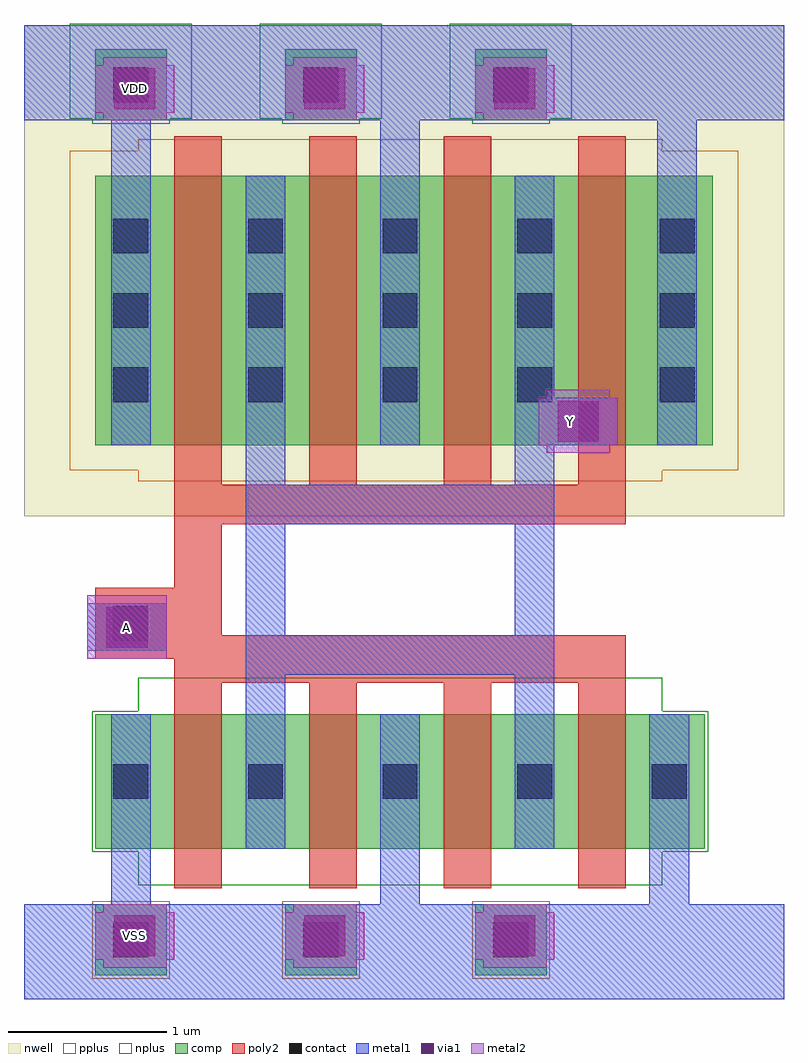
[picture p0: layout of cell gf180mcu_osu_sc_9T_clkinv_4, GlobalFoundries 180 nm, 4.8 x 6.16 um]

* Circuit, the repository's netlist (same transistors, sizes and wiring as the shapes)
* Copyright 2022 Google LLC
*
* Licensed under the Apache License, Version 2.0 (the "License");
* you may not use this file except in compliance with the License.
* You may obtain a copy of the License at
*
*      http://www.apache.org/licenses/LICENSE-2.0
*
* Unless required by applicable law or agreed to in writing, software
* distributed under the License is distributed on an "AS IS" BASIS,
* WITHOUT WARRANTIES OR CONDITIONS OF ANY KIND, either express or implied.
* See the License for the specific language governing permissions and
* limitations under the License.

.option scale=0.05u

.subckt gf180mcu_osu_sc_9T_clkinv_4 A Y
X0 VDD A Y VDD pmos_3p3 w=34 l=6
X1 Y A VSS VSS nmos_3p3 w=17 l=6
X2 Y A VSS VSS nmos_3p3 w=17 l=6
X3 Y A VDD VDD pmos_3p3 w=34 l=6
X4 Y A VDD VDD pmos_3p3 w=34 l=6
X5 VSS A Y VSS nmos_3p3 w=17 l=6
X6 VSS A Y VSS nmos_3p3 w=17 l=6
X7 VDD A Y VDD pmos_3p3 w=34 l=6
.ends

** hspice subcircuit dictionary

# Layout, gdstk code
import gdstk
lib = gdstk.Library(unit=1e-6, precision=1e-09)
def R(c, l, rs):  # rectangles x0, y0, x1, y1
    for r in rs: c.add(gdstk.rectangle(r[:2], r[2:], *l))
def A(c, l, x, y, w, h, nx, ny, dx, dy):  # array of equal rectangles
    R(c, l, [(x+i*dx, y+j*dy, x+i*dx+w, y+j*dy+h) for i in range(nx) for j in range(ny)])
nwell = (21, 0)
comp = (22, 0)
poly2 = (30, 0)
pplus = (31, 0)
nplus = (32, 0)
contact = (33, 0)
metal1 = (34, 0)
via1 = (35, 0)
metal2 = (36, 0)

gf180mcu_osu_sc_9t_clkin = lib.new_cell('gf180mcu_osu_sc_9T_clkinv_4')
R(gf180mcu_osu_sc_9t_clkin, nwell, [(0,3.05,4.8,6.15)])
A(gf180mcu_osu_sc_9t_clkin, comp, 0.45, 0.15, 0.45, 0.45, 3, 2, 1.2, 5.4)
R(gf180mcu_osu_sc_9t_clkin, comp, [(0.45,0.95,4.3,1.8), (0.45,3.5,4.35,5.2)])
A(gf180mcu_osu_sc_9t_clkin, poly2, 0.95, 0.7, 0.3, 1.3, 4, 1, 0.85, 0)
A(gf180mcu_osu_sc_9t_clkin, poly2, 0.95, 3.25, 0.3, 2.2, 4, 1, 0.85, 0)
R(gf180mcu_osu_sc_9t_clkin, poly2, [(0.95,2,3.8,2.15), (0.45,2.15,3.8,2.3), (0.45,2.3,1.25,2.6), (0.95,2.6,1.25,3), (0.95,3,3.8,3.25)])
A(gf180mcu_osu_sc_9t_clkin, pplus, 0.43, 0.13, 0.49, 0.49, 3, 1, 1.2, 0)
R(gf180mcu_osu_sc_9t_clkin, pplus, [(0.72,3.27,4.03,3.34), (0.29,3.34,4.51,5.36), (0.72,5.36,4.03,5.43)])
A(gf180mcu_osu_sc_9t_clkin, nplus, 0.43, 5.53, 0.49, 0.03, 3, 1, 1.2, 0)
A(gf180mcu_osu_sc_9t_clkin, nplus, 0.29, 5.56, 0.77, 0.6, 3, 1, 1.2, 0)
R(gf180mcu_osu_sc_9t_clkin, nplus, [(0.72,0.72,4.03,0.93), (0.43,0.93,4.32,1.82), (0.72,1.82,4.03,2.03)])
A(gf180mcu_osu_sc_9t_clkin, contact, 0.565, 0.265, 0.22, 0.22, 3, 2, 1.2, 5.4)
A(gf180mcu_osu_sc_9t_clkin, contact, 0.565, 1.265, 0.22, 0.22, 5, 1, 0.85, 0)
A(gf180mcu_osu_sc_9t_clkin, contact, 0.565, 3.77, 0.22, 0.22, 4, 3, 0.85, 0.47)
A(gf180mcu_osu_sc_9t_clkin, contact, 4.015, 3.77, 0.22, 0.22, 1, 3, 0, 0.47)
R(gf180mcu_osu_sc_9t_clkin, contact, [(0.565,2.265,0.785,2.485)])
A(gf180mcu_osu_sc_9t_clkin, metal1, 0.55, 0.6, 0.25, 1.2, 3, 1, 1.7, 0)
R(gf180mcu_osu_sc_9t_clkin, metal1, [(0,0,4.8,0.6), (1.4,0.95,1.65,2.05), (3.1,0.95,3.35,2.05), (1.4,2.05,3.35,2.3), (0.4,2.2,0.9,2.5), (1.4,2.3,1.65,3), (3.1,2.3,3.35,3), (1.4,3,3.35,3.25), (1.4,3.25,1.65,5.2), (3.1,3.25,3.35,3.5), (0.55,3.5,0.8,5.55), (2.25,3.5,2.5,5.55), (3.1,3.5,3.75,3.8), (4,3.5,4.25,5.55), (3.1,3.8,3.35,5.2), (0,5.55,4.8,6.15)])
A(gf180mcu_osu_sc_9t_clkin, via1, 0.57, 0.27, 0.26, 0.26, 3, 2, 1.2, 5.35)
R(gf180mcu_osu_sc_9t_clkin, via1, [(0.52,2.22,0.78,2.48), (3.37,3.52,3.63,3.78)])
A(gf180mcu_osu_sc_9t_clkin, metal2, 0.5, 0.2, 0.4, 0.05, 3, 2, 1.2, 0.35)
A(gf180mcu_osu_sc_9t_clkin, metal2, 0.45, 0.25, 0.5, 0.3, 3, 2, 1.2, 5.35)
A(gf180mcu_osu_sc_9t_clkin, metal2, 0.5, 5.55, 0.4, 0.05, 3, 2, 1.2, 0.35)
R(gf180mcu_osu_sc_9t_clkin, metal2, [(0.4,2.15,0.9,2.55), (3.3,3.45,3.7,3.5), (3.25,3.5,3.75,3.8), (3.3,3.8,3.7,3.85)])
gf180mcu_osu_sc_9t_clkin.add(gdstk.Label('VDD', (0.7,5.75), layer=36, texttype=0))
gf180mcu_osu_sc_9t_clkin.add(gdstk.Label('VSS', (0.7,0.4), layer=36, texttype=0))
gf180mcu_osu_sc_9t_clkin.add(gdstk.Label('A', (0.65,2.35), layer=36, texttype=10))
gf180mcu_osu_sc_9t_clkin.add(gdstk.Label('Y', (3.45,3.65), layer=36, texttype=10))

lib.write_gds('gf180mcu_osu_sc_9T_clkinv_4.gds')
